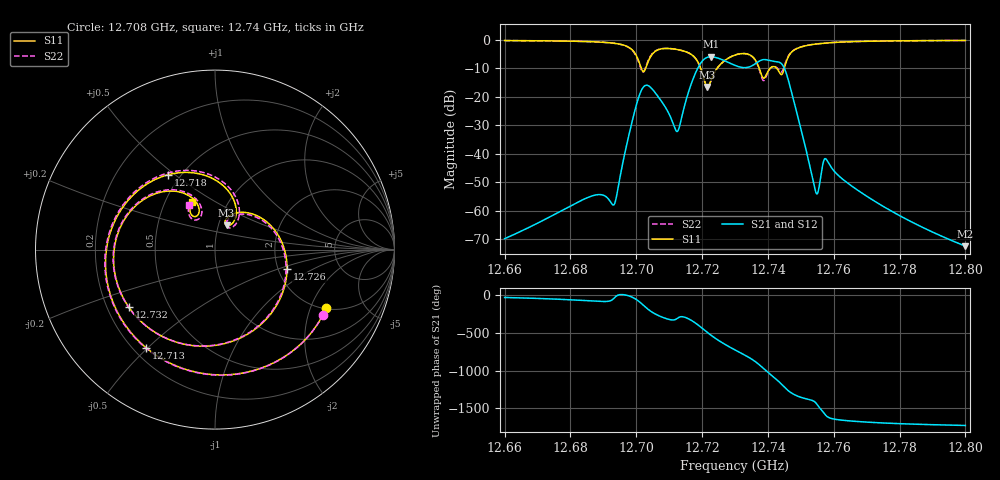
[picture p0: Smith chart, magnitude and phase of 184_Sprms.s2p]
! TOUCHSTONE file generated by CST MICROWAVE STUDIO
! Date and time: Wed Jul 31 20:12:03 2024
! Project name: WaveGuide_BPF-Ver4.1_U-shape_Ku_T3_C4_CWA_2.cst
! Parameters = {cavity_h=16; cavity_l0=10; cavity_l1=15.2126; cavity_l2=16.85; cavity_l3=17.1315; cavity_l4=17.2994; cavity_l5=17.1156; cavity_l6=17.5719; cavity_r=2.5; cavity_screw_l=0.5; cavity_screw_r=1.5; cavity_w=8; iris_h00=0; iris_h01=8.8161; iris_h112=0; iris_h12=5.6138; iris_h211=3.6578; ir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
! Header version: 2018
! Port assignment regex: !\s*Touchstone port\s*([0-9]+)\s*=\s*(CST MWS port|CST DS port)\s*([0-9]+|Zmin|Zmax)\s*\(\"(.*)\"\)(\s*mode\s*([0-9]+))?.*
! Touchstone port assignment:
! Touchstone port 1 = CST MWS port 1 ("")
! Touchstone port 2 = CST MWS port 2 ("")
# GHz S RI R 50
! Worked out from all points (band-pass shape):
!   5001 points, 12.66 GHz to 12.8 GHz, reference 50 ohm
!   highest |S21| = -5.88 dB at 12.723 GHz (marker M1); lowest = -72.5 dB at 12.8 GHz (marker M2)
!   |S21| within 3 dB of the highest: 12.71917 GHz to 12.72992 GHz (10.75 MHz wide, 0.0845 % of centre); 12.73545 GHz to 12.74451 GHz (9.06 MHz wide, 0.0711 % of centre)
!   lowest |S11| = -16.5 dB at 12.722 GHz (marker M3), VSWR 1.35, Z = 54.7 + j15.1 ohm
!   |S11| at or under -10 dB: 12.71959 GHz to 12.72452 GHz (4.932 MHz wide, 0.0388 % of centre); 12.73737 GHz to 12.74063 GHz (3.259 MHz wide, 0.0256 % of centre); 12.74271 GHz to 12.74496 GHz (2.246 MHz wide, 0.0176 % of centre)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
!   |S22| runs from -16.9 to -0.2 dB; largest |S21 - S12| = 1e-09
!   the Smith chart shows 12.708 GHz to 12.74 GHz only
!   S11 on the Smith chart (normalised r, x): 12.708 GHz: 2.06, -2.60; 12.713 GHz: 0.25, -0.49; 12.718 GHz: 0.43, +0.47; 12.726 GHz: 2.24, -0.58; 12.732 GHz: 0.29, -0.28; 12.74 GHz: 0.68, +0.39
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12.66  0.3833 0.9002  0.000285 -0.000147  0.000285 -0.000147  0.3868 0.8987
12.68335  0.8284 0.4554  0.000616 -0.00139  0.000616 -0.00139  0.8312 0.4498
12.69335  0.8571 -0.1821  0.00109 -0.000708  0.00109 -0.000708  0.8536 -0.1924
12.6987  0.2519 -0.6279  0.0333 -0.0139  0.0333 -0.0139  0.2273 -0.6273
12.70147  -0.3011 -0.1226  -0.03 -0.1237  -0.03 -0.1237  -0.2971 -0.0758
12.70374  0.1852 0.3911  -0.1547 0.0245  -0.1547 0.0245  0.2373 0.3821
12.70668  0.6647 -0.1099  -0.00693 0.1003  -0.00693 0.1003  0.6615 -0.1541
12.70768  0.6203 -0.3231  0.0216 0.0804  0.0216 0.0804  0.6021 -0.3619
12.71314  -0.3844 -0.5464  0.00899 0.029  0.00899 0.029  -0.4189 -0.5187
12.71779  -0.2623 0.4167  0.2461 -0.0032  0.2461 -0.0032  -0.2264 0.4351
12.7216  0.0644 0.1346  -0.3267 -0.3746  -0.3267 -0.3746  0.07 0.1237
12.72264  0.0693 0.1791  -0.4927 -0.1243  -0.4927 -0.1243  0.0762 0.1715
12.72644  0.4013 -0.1072  0.0492 0.4399  0.0492 0.4399  0.3948 -0.1313
12.73  -0.0741 -0.5381  0.3576 -0.0214  0.3576 -0.0214  -0.1017 -0.5359
12.73232  -0.4804 -0.3203  0.18 -0.2746  0.18 -0.2746  -0.4956 -0.2995
12.73708  -0.163 0.3095  -0.4104 0.0656  -0.4104 0.0656  -0.1418 0.3091
12.74022  -0.1297 0.2635  0.2764 0.3431  0.2764 0.3431  -0.1427 0.2491
12.74369  0.1573 0.2049  0.0803 -0.3921  0.0803 -0.3921  0.1569 0.2331
12.74842  0.678 -0.1299  -0.0275 0.0571  -0.0275 0.0571  0.6794 -0.1456
12.75335  0.2011 -0.8065  0.00276 0.00313  0.00276 0.00313  0.1921 -0.8098
12.77668  -0.9487 -0.1671  -0.000263 0.00101  -0.000263 0.00101  -0.9498 -0.1618
12.8  -0.9335 0.3055  6.17e-05 0.00023  6.17e-05 0.00023  -0.9323 0.3094
